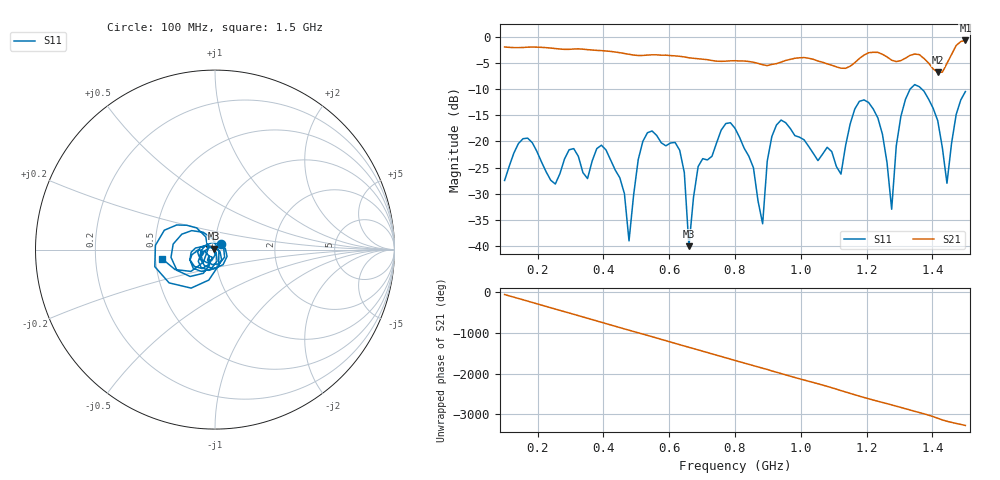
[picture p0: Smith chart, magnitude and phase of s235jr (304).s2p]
! NanoVNA-App
! Date: 2025-09-25 15:06:32
! Start: 100MHz Stop: 1,5GHz Points: 101
! S-Parameter data: F S11 S21 S12 S22
# Hz S RI R 50
!  Frequency  S11_Real  S11_Imag  S21_Real  S21_Imag  S12_Real  S12_Imag  S22_Real  S22_Imag
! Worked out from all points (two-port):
!   101 points, 100 MHz to 1.5 GHz, reference 50 ohm
!   highest |S21| = -0.72 dB at 1.5 GHz (marker M1); lowest = -6.8 dB at 1.416 GHz (marker M2)
!   |S21| within 3 dB of the highest: start of sweep to 627.5 MHz; 1.188 GHz to 1.258 GHz (70.22 MHz wide, 5.74 % of centre) (the widest 2 of 4)
!   lowest |S11| = -40.0 dB at 660 MHz (marker M3), VSWR 1.02, Z = 49.2 + j0.548 ohm
!   |S11| at or under -10 dB: start of sweep to 1.332 GHz; 1.367 GHz to end of sweep
!   S12 and S22 are empty: the file has one direction only
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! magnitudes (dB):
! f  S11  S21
! 100 MHz  -27.5  -2.0
! 170 MHz  -19.4  -2.0
! 338 MHz  -26.0  -2.4
! 408 MHz  -21.6  -2.7
! 478 MHz  -39.0  -3.4
! 520 MHz  -20.0  -3.6
! 576 MHz  -20.3  -3.5
! 632 MHz  -21.7  -3.7
! 660 MHz  -40.0  -4.0
! 688 MHz  -24.8  -4.2
! 800 MHz  -17.5  -4.6
! 884 MHz  -35.8  -5.4
! 926 MHz  -16.9  -5.1
! 1.038 GHz  -22.3  -4.3
! 1.122 GHz  -26.3  -6.0
! 1.206 GHz  -12.6  -3.1
! 1.276 GHz  -33.0  -4.5
! 1.29 GHz  -20.9  -4.8
! 1.332 GHz  -10.0  -3.6
! 1.416 GHz  -16.1  -6.8
! 1.444 GHz  -28.0  -5.1
! 1.5 GHz  -10.5  -0.7
